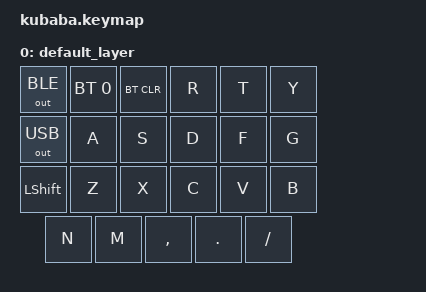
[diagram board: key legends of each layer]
#include <behaviors.dtsi>
#include <dt-bindings/zmk/keys.h>
#include <dt-bindings/zmk/bt.h>
#include <dt-bindings/zmk/outputs.h>


/ {
  keymap {
    compatible = "zmk,keymap";

    default_layer {
      bindings = <
        &out OUT_BLE &bt BT_SEL 0 &bt BT_CLR &kp R &kp T &kp Y  
        &out OUT_USB &kp A &kp S &kp D &kp F &kp G  
        &kp LSHFT &kp Z &kp X &kp C &kp V &kp B  
         &kp N &kp M  &kp COMMA &kp DOT &kp FSLH     
             
      >;
    };
  };
};
